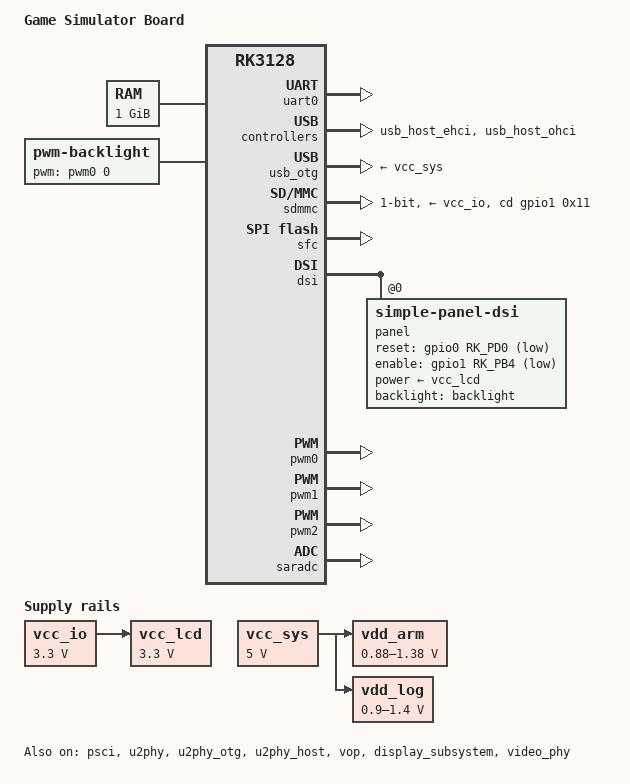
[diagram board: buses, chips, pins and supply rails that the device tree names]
/*
 * (C) Copyright 2017 Rockchip Electronics Co., Ltd
 *
 * SPDX-License-Identifier:     GPL-2.0+
 */

/dts-v1/;

#include "rk3128.dtsi"

/ {
	model = "Game Simulator Board";
	compatible = "rockchip,rk3128-gamesim", "rockchip,rk3128";

	chosen {
		stdout-path = &uart0;
	};

	memory {
		device_type = "memory";
		reg = <0x60000000 0x40000000>;
	};

	config {
		pinctrl-names = "default";
		pinctrl-0 = <&select_key &pm_enable>;

		download,gpio = <&gpio3 RK_PC6 GPIO_ACTIVE_HIGH>;
		pm-enable,gpio = <&gpio2 RK_PD5 GPIO_ACTIVE_HIGH>;
	};

	vcc_io: vcc-io {
		compatible = "regulator-fixed";
		regulator-name = "vcc_io";
		regulator-min-microvolt = <3300000>;
		regulator-max-microvolt = <3300000>;
		regulator-always-on;
		regulator-boot-on;
	};

	vcc_sys: vcc-sys {
		compatible = "regulator-fixed";
		regulator-name = "vcc_sys";
		regulator-always-on;
		regulator-boot-on;
		regulator-min-microvolt = <5000000>;
		regulator-max-microvolt = <5000000>;
	};

	vcc_lcd: vcc-lcd {
		compatible = "regulator-fixed";
		regulator-name = "vcc_lcd";
		regulator-always-on;
		regulator-boot-on;
		regulator-min-microvolt = <3300000>;
		regulator-max-microvolt = <3300000>;
		vin-supply = <&vcc_io>;
	};

	vdd_arm: vdd-arm {
		compatible = "pwm-regulator";
		pwms = <&pwm1 0 5000 0>;
		regulator-name = "vdd_arm";
		regulator-min-microvolt = <880000>;
		regulator-max-microvolt = <1380000>;
		regulator-init-microvolt = <1100000>;
		regulator-early-min-microvolt = <1100000>;
		regulator-always-on;
		regulator-boot-on;
		pwm-supply = <&vcc_sys>;
		pwm-dutycycle-range = <100 0>;
		pwm-dutycycle-unit = <100>;
	};

	vdd_log: vdd-log {
		compatible = "pwm-regulator";
		pwms = <&pwm2 0 5000 0>;
		regulator-name = "vdd_log";
		regulator-min-microvolt = <900000>;
		regulator-max-microvolt = <1400000>;
		regulator-init-microvolt = <1100000>;
		regulator-early-min-microvolt = <1100000>;
		regulator-always-on;
		regulator-boot-on;
		pwm-supply = <&vcc_sys>;
		pwm-dutycycle-range = <100 0>;
		pwm-dutycycle-unit = <100>;
	};

	backlight: backlight {
		compatible = "pwm-backlight";
		pwms = <&pwm0 0 25000 0>;
		default-brightness-level = <200>;
		brightness-levels = <
			  0   1   2   3   4   5   6   7
			  8   9  10  11  12  13  14  15
			 16  17  18  19  20  21  22  23
			 24  25  26  27  28  29  30  31
			 32  33  34  35  36  37  38  39
			 40  41  42  43  44  45  46  47
			 48  49  50  51  52  53  54  55
			 56  57  58  59  60  61  62  63
			 64  65  66  67  68  69  70  71
			 72  73  74  75  76  77  78  79
			 80  81  82  83  84  85  86  87
			 88  89  90  91  92  93  94  95
			 96  97  98  99 100 101 102 103
			104 105 106 107 108 109 110 111
			112 113 114 115 116 117 118 119
			120 121 122 123 124 125 126 127
			128 129 130 131 132 133 134 135
			136 137 138 139 140 141 142 143
			144 145 146 147 148 149 150 151
			152 153 154 155 156 157 158 159
			160 161 162 163 164 165 166 167
			168 169 170 171 172 173 174 175
			176 177 178 179 180 181 182 183
			184 185 186 187 188 189 190 191
			192 193 194 195 196 197 198 199
			200 201 202 203 204 205 206 207
			208 209 210 211 212 213 214 215
			216 217 218 219 220 221 222 223
			224 225 226 227 228 229 230 231
			232 233 234 235 236 237 238 239
			240 241 242 243 244 245 246 247
			248 249 250 251 252 253 254 255>;
		status = "okay";
	};

};

&cpu0 {
	cpu-supply = <&vdd_arm>;
};

&uart0 {
	u-boot,dm-pre-reloc;
	status = "okay";
};

&psci {
	status = "okay";
};

&u2phy {
	status = "okay";
};

&u2phy_otg {
	status = "okay";
};

&u2phy_host {
	status = "okay";
};

&usb_host_ehci {
	status = "okay";
};

&usb_host_ohci {
	status = "okay";
};

&usb_otg {
	status = "okay";
	vbus-supply = <&vcc_sys>;
};

&sdmmc {
	u-boot,dm-pre-reloc;
	status = "okay";

	supports-highspeed;
	supports-sd;
	broken-cd;

	card-detect-delay = <200>;
	ignore-pm-notify;
	keep-power-in-suspend;
	vmmc-supply = <&vcc_io>;

	cd-gpios = <&gpio1 0x11 0x00>;

	cap-mmc-highspeed;
	cap-sd-highspeed;

	max-frequency = <37500000>;
	num-slots = <1>;

	bus-width = <1>;
};

&sfc {
	u-boot,dm-pre-reloc;
	status = "okay";
};

&vop {
	status = "okay";
};

&display_subsystem {
	status = "okay";

	route {
		route_dsi: route-dsi {
			logo,uboot = "logo_uboot.bmp";
			logo,kernel = "logo_kernel.bmp";
			logo,mode = "fullscreen";
			charge_logo,mode = "center";
			connect = <&vop_out_dsi>;
			status = "okay";
		};
	};

};

&dsi {
	status = "okay";

	panel@0 {
		compatible = "simple-panel-dsi";
		reg = <0x00>;
		power-supply = <&vcc_lcd>;
		backlight = <&backlight>;
		pinctrl-names = "default";
		pinctrl-0 = <&lcd_reset &lcd_enable>;
		dsi,flags = <(MIPI_DSI_MODE_LPM | MIPI_DSI_MODE_EOT_PACKET | MIPI_DSI_MODE_VIDEO_BURST | MIPI_DSI_MODE_VIDEO)>;
		dsi,format = <MIPI_DSI_FMT_RGB888>;
		dsi,lanes = <2>;
		reset-gpios = <&gpio0 RK_PD0 GPIO_ACTIVE_LOW>;
		enable-gpios = <&gpio1 RK_PB4 GPIO_ACTIVE_LOW>;
		reset-delay-ms = <10>;
		enable-delay-ms = <100>;
		prepare-delay-ms = <10>;
		unprepare-delay-ms = <2000>;
		init-delay-ms = <1000>;
		panel-init-sequence = [
			39 00 03 f0 5a 5a
			39 00 06 a1 00 00 06 08 ff
			39 00 04 b1 07 00 00
			39 00 05 b2 11 11 11 11
			15 00 02 b3 01
			15 00 02 b4 15
			39 00 16 b5 ff ef 35 42 0d d7 ff 07 ff ff fd 00 01 ff 05 12 0f ff ff ff ff
			15 00 02 c0 00
			39 00 1d c1 00 4d 96 1d 00 00 0f 3b 00 00 0f 21 05 0a 0f 14 19 1e 23 28 2d 32 37 3c 41 46 4b 50
			39 00 05 f4 33 42 00 08
			39 00 06 f5 00 06 26 35 03
			15 00 02 f7 20
			39 00 15 f8 7f 7a 89 67 26 38 00 00 09 67 70 88 7a 76 05 09 23 23 23 00
			39 00 17 f9 00 9f 9f be cf d7 c9 c2 cb bb e1 e3 de d6 d0 d3 fa ed e6 2f 00 2f
			05 c8 01 11
			05 78 01 29
			15 00 02 35 00];
		panel-exit-sequence = <0x05000128 0x05000110>;

		display-timings {
			native-mode = <&timing0>;

			timing0: timing0 {
				clock-frequency = <33000000>;
				hactive = <960>;
				vactive = <544>;
				hback-porch = <15>;
				hfront-porch = <5>;
				hsync-len = <4>;
				vback-porch = <10>;
				vfront-porch = <10>;
				vsync-len = <4>;
				hsync-active = <0>;
				vsync-active = <0>;
				de-active = <0>;
				pixelclk-active = <0>;
			};
		};
	};
};

&video_phy {
	status = "okay";
	//inno,lanes = <2>;
};

&pwm0 {
	status = "okay";
};

&pwm1 {
	status = "okay";
};

&pwm2 {
	status = "okay";
};

&saradc {
	status = "okay";
};

&psci {
	status = "okay";
};

&dmc {
	center-supply = <&vdd_log>;
	u-boot,dm-pre-reloc;
};

&grf {
	u-boot,dm-pre-reloc;
};

&cru {
	u-boot,dm-pre-reloc;
};

&pinctrl {
	lcd_enable: lcd-enable {
		rockchip,pins = <RK_GPIO1 RK_PB4 RK_FUNC_0 &pcfg_pull_none>;
	};

	lcd_reset: lcd-reset {
		rockchip,pins = <RK_GPIO0 RK_PD0 RK_FUNC_0 &pcfg_pull_none>;
	};

	select_key: select-key {
		rockchip,pins = <RK_GPIO3 RK_PC6 RK_FUNC_0 &pcfg_pull_default>;
	};

	pm_enable: pm-enable {
		rockchip,pins = <RK_GPIO2 RK_PD5 RK_FUNC_0 &pcfg_pull_default>;
	};
};
